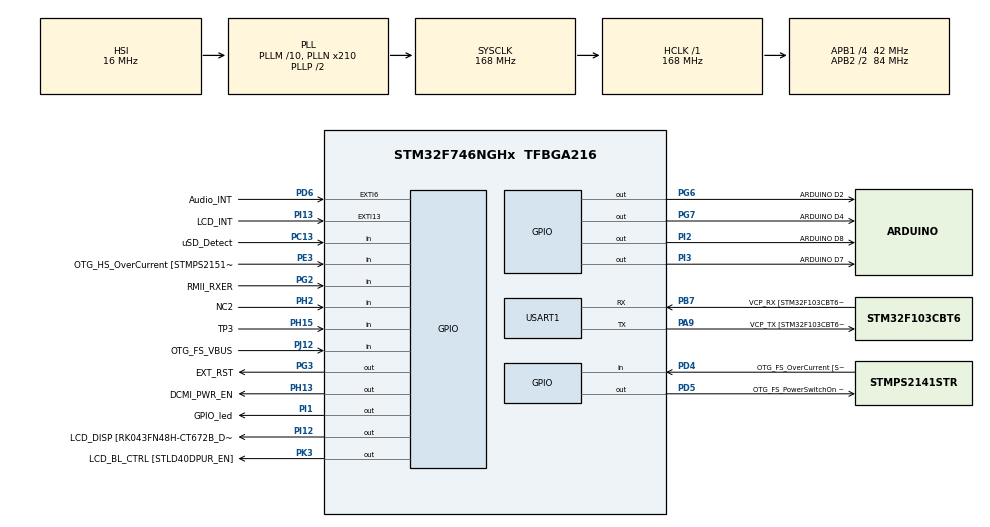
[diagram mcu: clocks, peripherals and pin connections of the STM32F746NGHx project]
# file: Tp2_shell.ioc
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CORTEX_M7.default_mode_Activation=1
FREERTOS.Tasks01=defaultTask,0,256,StartDefaultTask,Default,NULL,Dynamic,NULL,NULL
FREERTOS.configCHECK_FOR_STACK_OVERFLOW=2
FREERTOS.configGENERATE_RUN_TIME_STATS=1
FREERTOS.configTOTAL_HEAP_SIZE=32768
FREERTOS.configUSE_STATS_FORMATTING_FUNCTIONS=1
FREERTOS.configUSE_TRACE_FACILITY=1
Mcu.Family=STM32F7
Mcu.Name=STM32F746NGHx
Mcu.Package=TFBGA216
NVIC.PriorityGroup=NVIC_PRIORITYGROUP_4
NVIC.USART1_IRQn=true\:5\:0\:false\:false\:true\:true\:true\:true\:true
PA0/WKUP.GPIO_Label=ARDUINO A0
PA0/WKUP.GPIO_Mode=GPIO_MODE_ANALOG
PA0/WKUP.GPIO_PuPd=GPIO_NOPULL
PA0/WKUP.Signal=ADCx_IN0
PA1.GPIO_Label=RMII_REF_CLK [LAN8742A-CZ-TR_REFCLK0]
PA1.Signal=ETH_REF_CLK
PA10.GPIO_Label=OTG_FS_ID
PA10.Signal=USB_OTG_FS_ID
PA11.GPIO_Label=OTG_FS_N
PA11.Signal=USB_OTG_FS_DM
PA12.GPIO_Label=OTG_FS_P
PA12.Signal=USB_OTG_FS_DP
PA13.GPIO_Label=SWDIO
PA13.Signal=SYS_JTMS-SWDIO
PA14.GPIO_Label=SWCLK
PA14.Signal=SYS_JTCK-SWCLK
PA15.GPIO_Label=ARDUINO PWM/D9
PA15.GPIO_ModeDefaultPP=GPIO_MODE_AF_PP
PA15.GPIO_PuPd=GPIO_NOPULL
PA15.GPIO_Speed=GPIO_SPEED_FREQ_LOW
PA15.Signal=S_TIM2_CH1_ETR
PA2.GPIO_Label=RMII_MDIO [LAN8742A-CZ-TR_MDIO]
PA2.Signal=ETH_MDIO
PA3.GPIO_Label=ULPI_D0 [USB3320C-EZK_D0]
PA3.Signal=USB_OTG_HS_ULPI_D0
PA4.GPIO_Label=DCMI_HSYNC
PA4.Signal=DCMI_HSYNC
PA5.GPIO_Label=ULPI_CLK [USB3320C-EZK_CLKOUT]
PA5.Signal=USB_OTG_HS_ULPI_CK
PA6.Signal=DCMI_PIXCLK
PA7.GPIO_Label=RMII_CRS_DV [LAN8742A-CZ-TR_CRS_DV]
PA7.Signal=ETH_CRS_DV
PA8.GPIO_Label=ARDUINO PWM/D10
PA8.GPIO_ModeDefaultPP=GPIO_MODE_AF_PP
PA8.GPIO_PuPd=GPIO_NOPULL
PA8.GPIO_Speed=GPIO_SPEED_FREQ_LOW
PA8.Signal=S_TIM1_CH1
PA9.GPIO_Label=VCP_TX [STM32F103CBT6_PA3]
PA9.GPIO_Mode=GPIO_MODE_AF_PP
PA9.GPIO_PuPd=GPIO_NOPULL
PA9.GPIO_Speed=GPIO_SPEED_FREQ_LOW
PA9.Mode=Asynchronous
PA9.Signal=USART1_TX
PB0.GPIO_Label=ULPI_D1 [USB3320C-EZK_D1]
PB0.Signal=USB_OTG_HS_ULPI_D1
PB1.GPIO_Label=ULPI_D2 [USB3320C-EZK_D2]
PB1.Signal=USB_OTG_HS_ULPI_D2
PB10.GPIO_Label=ULPI_D3 [USB3320C-EZK_D3]
PB10.Signal=USB_OTG_HS_ULPI_D3
PB11.GPIO_Label=ULPI_D4 [USB3320C-EZK_D4]
PB11.Signal=USB_OTG_HS_ULPI_D4
PB12.GPIO_Label=ULPI_D5 [USB3320C-EZK_D5]
PB12.Signal=USB_OTG_HS_ULPI_D5
PB13.GPIO_Label=ULPI_D6 [USB3320C-EZK_D6]
PB13.Signal=USB_OTG_HS_ULPI_D6
PB14.GPIO_Label=ARDUINO MISO/D12
PB14.GPIO_Mode=GPIO_MODE_AF_PP
PB14.GPIO_PuPd=GPIO_NOPULL
PB14.GPIO_Speed=GPIO_SPEED_FREQ_LOW
PB14.Signal=SPI2_MISO
PB15.GPIO_Label=ARDUINO MOSI/PWM/D11
PB15.GPIO_Mode=GPIO_MODE_AF_PP
PB15.GPIO_PuPd=GPIO_NOPULL
PB15.GPIO_Speed=GPIO_SPEED_FREQ_LOW
PB15.Signal=SPI2_MOSI
PB2.Signal=QUADSPI_CLK
PB3.GPIO_Label=SWO
PB3.Signal=SYS_JTDO-SWO
PB4.GPIO_Label=ARDUINO PWM/D3
PB4.GPIO_ModeDefaultPP=GPIO_MODE_AF_PP
PB4.GPIO_PuPd=GPIO_NOPULL
PB4.GPIO_Speed=GPIO_SPEED_FREQ_LOW
PB4.Signal=S_TIM3_CH1
PB5.GPIO_Label=ULPI_D7 [USB3320C-EZK_D7]
PB5.Signal=USB_OTG_HS_ULPI_D7
PB6.GPIO_Label=QSPI_NCS [N25Q128A13EF840E_S]
PB6.Signal=QUADSPI_BK1_NCS
PB7.GPIO_Label=VCP_RX [STM32F103CBT6_PA2]
PB7.GPIO_Mode=GPIO_MODE_AF_PP
PB7.GPIO_PuPd=GPIO_NOPULL
PB7.GPIO_Speed=GPIO_SPEED_FREQ_LOW
PB7.Mode=Asynchronous
PB7.Signal=USART1_RX
PB8.GPIO_Label=ARDUINO SCL/D15
PB8.GPIO_Mode=GPIO_MODE_AF_OD
PB8.GPIO_PuPd=GPIO_NOPULL
PB8.GPIO_Speed=GPIO_SPEED_FREQ_LOW
PB8.Signal=I2C1_SCL
PB9.GPIO_Label=ARDUINO SDA/D14
PB9.GPIO_Mode=GPIO_MODE_AF_OD
PB9.GPIO_PuPd=GPIO_NOPULL
PB9.GPIO_Speed=GPIO_SPEED_FREQ_LOW
PB9.Signal=I2C1_SDA
PC0.GPIO_Label=ULPI_STP [USB3320C-EZK_STP]
PC0.Signal=USB_OTG_HS_ULPI_STP
PC1.GPIO_Label=RMII_MDC [LAN8742A-CZ-TR_MDC]
PC1.Signal=ETH_MDC
PC10.GPIO_Label=SDMMC_D2
PC10.Signal=SDMMC1_D2
PC11.GPIO_Label=SDMMC_D3
PC11.Signal=SDMMC1_D3
PC12.GPIO_Label=SDMMC_CK
PC12.Signal=SDMMC1_CK
PC13.GPIO_Label=uSD_Detect
PC13.Signal=GPIO_Input
PC14/OSC32_IN.GPIO_Label=RCC_OSC32_IN
PC14/OSC32_IN.Signal=RCC_OSC32_IN
PC15/OSC32_OUT.GPIO_Label=RCC_OSC32_OUT
PC15/OSC32_OUT.Signal=RCC_OSC32_OUT
PC2.GPIO_Label=ULPI_DIR [USB3320C-EZK_DIR]
PC2.Signal=USB_OTG_HS_ULPI_DIR
PC3.GPIO_Label=FMC_SDCKE0 [MT48LC4M32B2B5-6A_CKE]
PC3.Signal=FMC_SDCKE0
PC4.GPIO_Label=RMII_RXD0 [LAN8742A-CZ-TR_RXD0]
PC4.Signal=ETH_RXD0
PC5.GPIO_Label=RMII_RXD1 [LAN8742A-CZ-TR_RXD1]
PC5.Signal=ETH_RXD1
PC6.GPIO_Label=ARDUINO TX/D1
PC6.Signal=USART6_TX
PC7.GPIO_Label=ARDUINO RX/D0
PC7.Signal=USART6_RX
PC8.Signal=SDMMC1_D0
PC9.Signal=SDMMC1_D1
PD0.GPIO_Label=FMC_D2 [MT48LC4M32B2B5-6A_DQ2]
PD0.Signal=FMC_D2_DA2
PD1.GPIO_Label=FMC_D3 [MT48LC4M32B2B5-6A_DQ3]
PD1.Signal=FMC_D3_DA3
PD10.GPIO_Label=FMC_D15 [MT48LC4M32B2B5-6A_DQ15]
PD10.Signal=FMC_D15_DA15
PD11.GPIO_Label=QSPI_D0 [N25Q128A13EF840E_DQ0]
PD11.Signal=QUADSPI_BK1_IO0
PD12.GPIO_Label=QSPI_D1 [N25Q128A13EF840E_DQ1]
PD12.Signal=QUADSPI_BK1_IO1
PD13.GPIO_Label=QSPI_D3 [N25Q128A13EF840E_DQ3]
PD13.Signal=QUADSPI_BK1_IO3
PD14.GPIO_Label=FMC_D0 [MT48LC4M32B2B5-6A_DQ0]
PD14.Signal=FMC_D0_DA0
PD15.GPIO_Label=FMC_D1 [MT48LC4M32B2B5-6A_DQ1]
PD15.Signal=FMC_D1_DA1
PD2.GPIO_Label=SDMMC_D0
PD2.Signal=SDMMC1_CMD
PD3.GPIO_Label=DCMI_D5
PD3.Signal=DCMI_D5
PD4.GPIO_Label=OTG_FS_OverCurrent [STMPS2141STR_Fault]
PD4.Signal=GPIO_Input
PD5.GPIO_Label=OTG_FS_PowerSwitchOn [STMPS2141STR_EN]
PD5.PinState=GPIO_PIN_SET
PD5.Signal=GPIO_Output
PD6.GPIO_Label=Audio_INT
PD6.GPIO_ModeDefaultEXTI=GPIO_MODE_EVT_RISING
PD6.Signal=GPXTI6
PD7.GPIO_Label=SPDIF_RX0 [74LVC1G04SE_4]
PD7.Signal=SPDIFRX_IN0
PD8.GPIO_Label=FMC_D13 [MT48LC4M32B2B5-6A_DQ13]
PD8.Signal=FMC_D13_DA13
PD9.GPIO_Label=FMC_D14 [MT48LC4M32B2B5-6A_DQ14]
PD9.Signal=FMC_D14_DA14
PE0.GPIO_Label=FMC_NBL0 [MT48LC4M32B2B5-6A_DQM0]
PE0.Signal=FMC_NBL0
PE1.GPIO_Label=FMC_NBL1 [MT48LC4M32B2B5-6A_DQM1]
PE1.Signal=FMC_NBL1
PE10.GPIO_Label=FMC_D7 [MT48LC4M32B2B5-6A_DQ7]
PE10.Signal=FMC_D7_DA7
PE11.GPIO_Label=FMC_D8 [MT48LC4M32B2B5-6A_DQ8]
PE11.Signal=FMC_D8_DA8
PE12.GPIO_Label=FMC_D9 [MT48LC4M32B2B5-6A_DQ9]
PE12.Signal=FMC_D9_DA9
PE13.GPIO_Label=FMC_D10 [MT48LC4M32B2B5-6A_DQ10]
PE13.Signal=FMC_D10_DA10
PE14.GPIO_Label=FMC_D11 [MT48LC4M32B2B5-6A_DQ11]
PE14.Signal=FMC_D11_DA11
PE15.GPIO_Label=FMC_D12 [MT48LC4M32B2B5-6A_DQ12]
PE15.Signal=FMC_D12_DA12
PE2.GPIO_Label=QSPI_D2 [N25Q128A13EF840E_DQ2]
PE2.Signal=QUADSPI_BK1_IO2
PE3.GPIO_Label=OTG_HS_OverCurrent [STMPS2151STR_FAULT]
PE3.Signal=GPIO_Input
PE4.GPIO_Label=LCD_B0 [RK043FN48H-CT672B_B0]
PE4.Signal=LTDC_B0
PE5.GPIO_Label=DCMI_D6
PE5.Signal=DCMI_D6
PE6.GPIO_Label=DCMI_D7
PE6.Signal=DCMI_D7
PE7.GPIO_Label=FMC_D4 [MT48LC4M32B2B5-6A_DQ4]
PE7.Signal=FMC_D4_DA4
PE8.GPIO_Label=FMC_D5 [MT48LC4M32B2B5-6A_DQ5]
PE8.Signal=FMC_D5_DA5
PE9.GPIO_Label=FMC_D6 [MT48LC4M32B2B5-6A_DQ6]
PE9.Signal=FMC_D6_DA6
PF0.GPIO_Label=FMC_A0 [MT48LC4M32B2B5-6A_A0]
PF0.Signal=FMC_A0
PF1.GPIO_Label=FMC_A1 [MT48LC4M32B2B5-6A_A1]
PF1.Signal=FMC_A1
PF10.GPIO_Label=ARDUINO A1
PF10.GPIO_Mode=GPIO_MODE_ANALOG
PF10.GPIO_PuPd=GPIO_NOPULL
PF10.Signal=ADC3_IN8
PF11.GPIO_Label=FMC_SDNRAS [MT48LC4M32B2B5-6A_RAS]
PF11.Signal=FMC_SDNRAS
PF12.GPIO_Label=FMC_A6 [MT48LC4M32B2B5-6A_A6]
PF12.Signal=FMC_A6
PF13.GPIO_Label=FMC_A7 [MT48LC4M32B2B5-6A_A7]
PF13.Signal=FMC_A7
PF14.GPIO_Label=FMC_A8 [MT48LC4M32B2B5-6A_A8]
PF14.Signal=FMC_A8
PF15.GPIO_Label=FMC_A9 [MT48LC4M32B2B5-6A_A9]
PF15.Signal=FMC_A9
PF2.GPIO_Label=FMC_A2 [MT48LC4M32B2B5-6A_A2]
PF2.Signal=FMC_A2
PF3.GPIO_Label=FMC_A3 [MT48LC4M32B2B5-6A_A3]
PF3.Signal=FMC_A3
PF4.GPIO_Label=FMC_A4 [MT48LC4M32B2B5-6A_A4]
PF4.Signal=FMC_A4
PF5.GPIO_Label=FMC_A5 [MT48LC4M32B2B5-6A_A5]
PF5.Signal=FMC_A5
PF6.GPIO_Label=ARDUINO A5
PF6.GPIO_Mode=GPIO_MODE_ANALOG
PF6.GPIO_PuPd=GPIO_NOPULL
PF6.Signal=ADC3_IN4
PF7.GPIO_Label=ARDUINO A4
PF7.GPIO_Mode=GPIO_MODE_ANALOG
PF7.GPIO_PuPd=GPIO_NOPULL
PF7.Signal=ADC3_IN5
PF8.GPIO_Label=ARDUINO A3
PF8.GPIO_Mode=GPIO_MODE_ANALOG
PF8.GPIO_PuPd=GPIO_NOPULL
PF8.Signal=ADC3_IN6
PF9.GPIO_Label=ARDUINO A2
PF9.GPIO_Mode=GPIO_MODE_ANALOG
PF9.GPIO_PuPd=GPIO_NOPULL
PF9.Signal=ADC3_IN7
PG0.GPIO_Label=FMC_A10 [MT48LC4M32B2B5-6A_A10]
PG0.Signal=FMC_A10
PG1.GPIO_Label=FMC_A11 [MT48LC4M32B2B5-6A_A11]
PG1.Signal=FMC_A11
PG10.GPIO_Label=SAI2_SDB [WM8994ECS/R_ADCDAT1]
PG10.Signal=SAI2_SD_B
PG11.GPIO_Label=RMII_TX_EN [LAN8742A-CZ-TR_TXEN]
PG11.Signal=ETH_TX_EN
PG12.GPIO_Label=LCD_B4 [RK043FN48H-CT672B_B4]
PG12.Signal=LTDC_B4
PG13.GPIO_Label=RMII_TXD0 [LAN8742A-CZ-TR_TXD0]
PG13.Signal=ETH_TXD0
PG14.GPIO_Label=RMII_TXD1 [LAN8742A-CZ-TR_TXD1]
PG14.Signal=ETH_TXD1
PG15.GPIO_Label=FMC_SDNCAS [MT48LC4M32B2B5-6A_CAS]
PG15.Signal=FMC_SDNCAS
PG2.GPIO_Label=RMII_RXER
PG2.Signal=GPIO_Input
PG3.GPIO_Label=EXT_RST
PG3.Signal=GPIO_Output
PG4.GPIO_Label=FMC_BA0 [MT48LC4M32B2B5-6A_BA0]
PG4.Signal=FMC_A14_BA0
PG5.GPIO_Label=FMC_BA1 [MT48LC4M32B2B5-6A_BA1]
PG5.Signal=FMC_A15_BA1
PG6.GPIO_Label=ARDUINO D2
PG6.Signal=GPIO_Output
PG7.GPIO_Label=ARDUINO D4
PG7.Signal=GPIO_Output
PG8.GPIO_Label=FMC_SDCLK [MT48LC4M32B2B5-6A_CLK]
PG8.Signal=FMC_SDCLK
PG9.GPIO_Label=DCMI_VSYNC
PG9.Signal=DCMI_VSYNC
PH0/OSC_IN.GPIO_Label=OSC_25M [NZ2520SB-25.00M_OUT]
PH0/OSC_IN.Signal=RCC_OSC_IN
PH1/OSC_OUT.Signal=RCC_OSC_OUT
PH10.GPIO_Label=DCMI_D1
PH10.Signal=DCMI_D1
PH11.GPIO_Label=DCMI_D2
PH11.Signal=DCMI_D2
PH12.GPIO_Label=DCMI_D3
PH12.Signal=DCMI_D3
PH13.GPIO_Label=DCMI_PWR_EN
PH13.Signal=GPIO_Output
PH14.GPIO_Label=DCMI_D4
PH14.Signal=DCMI_D4
PH15.GPIO_Label=TP3
PH15.Signal=GPIO_Input
PH2.GPIO_Label=NC2
PH2.Signal=GPIO_Input
PH3.GPIO_Label=FMC_SDNE0 [MT48LC4M32B2B5-6A_CS]
PH3.Signal=FMC_SDNE0
PH4.GPIO_Label=ULPI_NXT [USB3320C-EZK_NXT]
PH4.Signal=USB_OTG_HS_ULPI_NXT
PH5.GPIO_Label=FMC_SDNME [MT48LC4M32B2B5-6A_WE]
PH5.Signal=FMC_SDNWE
PH6.GPIO_Label=ARDUINO PWM/D6
PH6.Signal=S_TIM12_CH1
PH7.GPIO_Label=LCD_SCL [RK043FN48H-CT672B_SCL]
PH7.Signal=I2C3_SCL
PH8.GPIO_Label=LCD_SDA [RK043FN48H-CT672B_SDA]
PH8.Signal=I2C3_SDA
PH9.GPIO_Label=DCMI_D0
PH9.Signal=DCMI_D0
PI0.GPIO_Label=ARDUINO PWM/CS/D5
PI0.GPIO_ModeDefaultPP=GPIO_MODE_AF_PP
PI0.GPIO_PuPd=GPIO_NOPULL
PI0.GPIO_Speed=GPIO_SPEED_FREQ_LOW
PI0.Signal=S_TIM5_CH4
PI1.GPIO_Label=GPIO_led
PI1.Signal=GPIO_Output
PI10.GPIO_Label=LCD_HSYNC [RK043FN48H-CT672B_HSYNC]
PI10.Signal=LTDC_HSYNC
PI12.GPIO_Label=LCD_DISP [RK043FN48H-CT672B_DISP] 
PI12.Signal=GPIO_Output
PI13.GPIO_Label=LCD_INT
PI13.GPIO_ModeDefaultEXTI=GPIO_MODE_EVT_RISING
PI13.Signal=GPXTI13
PI14.GPIO_Label=LCD_CLK [RK043FN48H-CT672B_CLK]
PI14.Signal=LTDC_CLK
PI15.GPIO_Label=LCD_R0 [RK043FN48H-CT672B_R0]
PI15.Signal=LTDC_R0
PI2.GPIO_Label=ARDUINO D8
PI2.Signal=GPIO_Output
PI3.GPIO_Label=ARDUINO D7
PI3.Signal=GPIO_Output
PI4.GPIO_Label=SAI2_MCLKA [WM8994ECS/R_MCLK1]
PI4.Signal=SAI2_MCLK_A
PI5.GPIO_Label=SAI2_SCKA [WM8994ECS/R_BCLK1]
PI5.Signal=SAI2_SCK_A
PI6.GPIO_Label=SAI2_SDA [WM8994ECS/R_DACDAT1]
PI6.Signal=SAI2_SD_A
PI7.GPIO_Label=SAI2_FSA [WM8994ECS/R_LRCLK1]
PI7.Signal=SAI2_FS_A
PI8.GPIO_Label=NC1 [TP2]
PI8.Signal=RTC_TS
PI9.GPIO_Label=LCD_VSYNC [RK043FN48H-CT672B_VSYNC]
PI9.Signal=LTDC_VSYNC
PJ0.GPIO_Label=LCD_R1 [RK043FN48H-CT672B_R1]
PJ0.Signal=LTDC_R1
PJ1.GPIO_Label=LCD_R2 [RK043FN48H-CT672B_R2]
PJ1.Signal=LTDC_R2
PJ10.GPIO_Label=LCD_G3 [RK043FN48H-CT672B_G3]
PJ10.Signal=LTDC_G3
PJ11.GPIO_Label=LCD_G4 [RK043FN48H-CT672B_G4]
PJ11.Signal=LTDC_G4
PJ12.GPIO_Label=OTG_FS_VBUS
PJ12.Signal=GPIO_Input
PJ13.GPIO_Label=LCD_B1 [RK043FN48H-CT672B_B1]
PJ13.Signal=LTDC_B1
PJ14.GPIO_Label=LCD_B2 [RK043FN48H-CT672B_B2]
PJ14.Signal=LTDC_B2
PJ15.GPIO_Label=LCD_B3 [RK043FN48H-CT672B_B3]
PJ15.Signal=LTDC_B3
PJ2.GPIO_Label=LCD_R3 [RK043FN48H-CT672B_R3]
PJ2.Signal=LTDC_R3
PJ3.GPIO_Label=LCD_R4 [RK043FN48H-CT672B_R4]
PJ3.Signal=LTDC_R4
PJ4.GPIO_Label=LCD_R5 [RK043FN48H-CT672B_R5]
PJ4.Signal=LTDC_R5
PJ5.GPIO_Label=LCD_R6 [RK043FN48H-CT672B_R6]
PJ5.Signal=LTDC_R6
PJ6.GPIO_Label=LCD_R7 [RK043FN48H-CT672B_R7]
PJ6.Signal=LTDC_R7
PJ7.GPIO_Label=LCD_G0 [RK043FN48H-CT672B_G0]
PJ7.Signal=LTDC_G0
PJ8.GPIO_Label=LCD_G1 [RK043FN48H-CT672B_G1]
PJ8.Signal=LTDC_G1
PJ9.GPIO_Label=LCD_G2 [RK043FN48H-CT672B_G2]
PJ9.Signal=LTDC_G2
PK0.GPIO_Label=LCD_G5 [RK043FN48H-CT672B_G5]
PK0.Signal=LTDC_G5
PK1.GPIO_Label=LCD_G6 [RK043FN48H-CT672B_G6]
PK1.Signal=LTDC_G6
PK2.GPIO_Label=LCD_G7 [RK043FN48H-CT672B_G7]
PK2.Signal=LTDC_G7
PK3.GPIO_Label=LCD_BL_CTRL [STLD40DPUR_EN]
PK3.Signal=GPIO_Output
PK4.GPIO_Label=LCD_B5 [RK043FN48H-CT672B_B5]
PK4.Signal=LTDC_B5
PK5.GPIO_Label=LCD_B6 [RK043FN48H-CT672B_B6]
PK5.Signal=LTDC_B6
PK6.GPIO_Label=LCD_B7 [RK043FN48H-CT672B_B7]
PK6.Signal=LTDC_B7
PK7.GPIO_Label=LCD_DE [RK043FN48H-CT672B_DE]
PK7.Signal=LTDC_DE
ProjectManager.HeapSize=0x200
ProjectManager.StackSize=0x400
ProjectManager.TargetToolchain=CMake
RCC.AHBFreq_Value=168000000
RCC.APB1CLKDivider=RCC_HCLK_DIV4
RCC.APB1Freq_Value=42000000
RCC.APB1TimFreq_Value=84000000
RCC.APB2CLKDivider=RCC_HCLK_DIV2
RCC.APB2Freq_Value=84000000
RCC.APB2TimFreq_Value=168000000
RCC.CortexFreq_Value=168000000
RCC.HCLKFreq_Value=168000000
RCC.HSE_VALUE=25000000
RCC.HSI_VALUE=16000000
RCC.LSE_VALUE=32768
RCC.PLLM=10
RCC.PLLN=210
RCC.PLLSourceVirtual=RCC_PLLSOURCE_HSI
RCC.SYSCLKFreq_VALUE=168000000
RCC.SYSCLKSource=RCC_SYSCLKSOURCE_PLLCLK
RCC.USBFreq_Value=168000000
RCC.VCOOutputFreq_Value=336000000
SH.ADCx_IN0.0=ADC3_IN0
SH.FMC_A0.0=FMC_A0
SH.FMC_A1.0=FMC_A1
SH.FMC_A10.0=FMC_A10
SH.FMC_A11.0=FMC_A11
SH.FMC_A14_BA0.0=FMC_BA0
SH.FMC_A15_BA1.0=FMC_BA1
SH.FMC_A2.0=FMC_A2
SH.FMC_A3.0=FMC_A3
SH.FMC_A4.0=FMC_A4
SH.FMC_A5.0=FMC_A5
SH.FMC_A6.0=FMC_A6
SH.FMC_A7.0=FMC_A7
SH.FMC_A8.0=FMC_A8
SH.FMC_A9.0=FMC_A9
SH.FMC_D0_DA0.0=FMC_D0
SH.FMC_D10_DA10.0=FMC_D10
SH.FMC_D11_DA11.0=FMC_D11
SH.FMC_D12_DA12.0=FMC_D12
SH.FMC_D13_DA13.0=FMC_D13
SH.FMC_D14_DA14.0=FMC_D14
SH.FMC_D15_DA15.0=FMC_D15
SH.FMC_D1_DA1.0=FMC_D1
SH.FMC_D2_DA2.0=FMC_D2
SH.FMC_D3_DA3.0=FMC_D3
SH.FMC_D4_DA4.0=FMC_D4
SH.FMC_D5_DA5.0=FMC_D5
SH.FMC_D6_DA6.0=FMC_D6
SH.FMC_D7_DA7.0=FMC_D7
SH.FMC_D8_DA8.0=FMC_D8
SH.FMC_D9_DA9.0=FMC_D9
SH.FMC_NBL0.0=FMC_NBL0
SH.FMC_NBL1.0=FMC_NBL1
SH.FMC_SDCLK.0=FMC_SDCLK
SH.FMC_SDNCAS.0=FMC_SDNCAS
SH.FMC_SDNRAS.0=FMC_SDNRAS
SH.FMC_SDNWE.0=FMC_SDNWE
SH.S_TIM12_CH1.0=TIM12_CH1
SH.S_TIM1_CH1.0=TIM1_CH1
SH.S_TIM2_CH1_ETR.0=TIM2_CH1
SH.S_TIM3_CH1.0=TIM3_CH1
SH.S_TIM5_CH4.0=TIM5_CH4
USART1.VirtualMode-Asynchronous=VM_ASYNC
VP_FREERTOS_VS_CMSIS_V1.Mode=CMSIS_V1
board=STM32F746G-DISCO

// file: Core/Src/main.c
/* USER CODE BEGIN Header */
/**
 ******************************************************************************
 * @file           : main.c
 * @brief          : Main program body
 ******************************************************************************
 * @attention
 *
 * Copyright (c) 2026 STMicroelectronics.
 * All rights reserved.
 *
 * This software is licensed under terms that can be found in the LICENSE file
 * in the root directory of this software component.
 * If no LICENSE file comes with this software, it is provided AS-IS.
 *
 ******************************************************************************
 */
/* USER CODE END Header */
#include "main.h"
#include "cmsis_os.h"
#include "usart.h"
#include "gpio.h"

/* USER CODE BEGIN Includes */
#include <stdio.h>
#include <stdlib.h>
#include "shell.h"
#include <string.h>
/* USER CODE END Includes */

/* USER CODE BEGIN PTD */
typedef struct
{
	char message[50];
	uint32_t count;
} SpamMessage_t;

/* USER CODE END PTD */

/* USER CODE BEGIN PV */
QueueHandle_t ledQueue = NULL;
QueueHandle_t spamQueue = NULL;
volatile uint32_t ledPeriod = 0;
SemaphoreHandle_t testSem = NULL;
/* USER CODE END PV */

void SystemClock_Config(void);
static void MPU_Config(void);
void MX_FREERTOS_Init(void);
/* USER CODE BEGIN PFP */

void task_led(void *unused);
void task_spam(void *unused);
int stats(int argc, char **argv);
//void task_dummy(void *unused);
void task_shell(void *unused);

int led(int argc, char **argv);
int spam(int argc, char **argv);
int fonction(int argc, char **argv);
int addition(int argc, char **argv);
/* USER CODE END PFP */

/* USER CODE BEGIN 0 */
int __io_putchar(int ch)
{
	HAL_UART_Transmit(&huart1, (uint8_t *)&ch, 1, HAL_MAX_DELAY);
	return ch;
}

void HAL_UART_RxCpltCallback(UART_HandleTypeDef *huart)
{
	if (huart->Instance == USART1)
	{
		shell_rx_callback();
	}
}

int fonction(int argc, char ** argv)
{
	printf("Je suis une fonction\r\n");

	printf("argc = %d\r\n", argc);

	for (int i = 0 ; i < argc ; i++)
	{
		printf("argv[%d] = %s\r\n", i, argv[i]);
	}

	return 0;
}

int addition(int argc, char ** argv)
{
	if (argc == 3)	// Deux arguments + le nom de la fonction
	{
		int a = atoi(argv[1]);	// atoi = ASCII to Integer
		int b = atoi(argv[2]);

		printf("%d + %d = %d\r\n", a, b, a+b);

		return 0;
	}
	else
	{
		printf("Usage : %s <arg1> <arg2>\r\n", argv[0]);
		return -1;
	}
}

void task_shell(void * unused)
{
	shell_init();
	shell_add('f', *fonction, "Une fonction");
	shell_add('a', *addition, "Addition");
	shell_add('l', led, "Commande LED");
	shell_add('s', spam, "Spam message");
	shell_add('t', stats, "FreeRTOS stats");
	shell_run();

	// shell_run = boucle infinie, on ne sort pas de la tache
	// Rappel : il est interdit de sortir d'une tache!
}
/*void task_stack_overflow(void *unused)
{
	char big_buffer[2000];

	for (;;)
	{
		for (int i = 0; i < sizeof(big_buffer); i++)
		{
			big_buffer[i] = i;
		}

		printf("Task stack test\r\n");
		vTaskDelay(pdMS_TO_TICKS(100));
	}
}*/
int stats(int argc, char **argv)
{
    static char buffer[1024];

    printf("\r\n=== Task list ===\r\n");

    vTaskList(buffer);
    printf("%s\r\n", buffer);

    printf("\r\n=== Runtime stats ===\r\n");

    vTaskGetRunTimeStats(buffer);
    printf("%s\r\n", buffer);

    return 0;
}
int led(int argc, char **argv)
{
	uint32_t period;

	if (argc != 2)
	{
		printf("Usage : %s <periode_ms>\r\n", argv[0]);
		return -1;
	}

	period = (uint32_t)atoi(argv[1]);

	if (xQueueOverwrite(ledQueue, &period) == pdPASS)
	{
		printf("Nouvelle periode LED = %lu ms\r\n", period);
		return 0;
	}

	printf("Erreur envoi ledQueue\r\n");
	return -1;
}

void task_led(void *unused)
{
	uint32_t newPeriod;

	for (;;)
	{
		if (xQueueReceive(ledQueue, &newPeriod, 0) == pdPASS)
		{
			ledPeriod = newPeriod;
		}

		if (ledPeriod == 0)
		{
			HAL_GPIO_WritePin(GPIOI, GPIO_led_Pin, GPIO_PIN_RESET);
			vTaskDelay(pdMS_TO_TICKS(20));
		}
		else
		{
			HAL_GPIO_TogglePin(GPIOI, GPIO_led_Pin
					);
			vTaskDelay(pdMS_TO_TICKS(ledPeriod));
		}
	}
}

int spam(int argc, char **argv)
{
	SpamMessage_t msg;

	if (argc != 3)
	{
		printf("Usage : %s <message> <nb>\r\n", argv[0]);
		return -1;
	}

	strncpy(msg.message, argv[1], sizeof(msg.message) - 1);
	msg.message[sizeof(msg.message) - 1] = '\0';

	// Convertir le nombre
	msg.count = (uint32_t)atoi(argv[2]);

	// Envoi dans la queue (bloquant pour éviter la perte)
	if (xQueueSend(spamQueue, &msg, portMAX_DELAY) == pdPASS)
	{
		printf("Spam envoye\r\n");
		return 0;
	}

	printf("Erreur envoi spamQueue\r\n");
	return -1;
}

void task_spam(void *unused)
{
	SpamMessage_t msg;

	for (;;)
	{
		if (xQueueReceive(spamQueue, &msg, portMAX_DELAY) == pdPASS)
		{
			for (uint32_t i = 0; i < msg.count; i++)
			{
				printf("%s\r\n", msg.message);
				printf("\r\n");
				vTaskDelay(pdMS_TO_TICKS(100));
			}
		}
	}
}
/*void task_dummy(void *unused)
{
    for (;;)
    {
        vTaskDelay(pdMS_TO_TICKS(1000));
    }
}*/

/* USER CODE END 0 */

int main(void)
{

  /* MPU Configuration--------------------------------------------------------*/
  MPU_Config();

  /* MCU Configuration--------------------------------------------------------*/

  /* Reset of all peripherals, Initializes the Flash interface and the Systick. */
  HAL_Init();

  /* Configure the system clock */
  SystemClock_Config();

  /* Initialize all configured peripherals */
  MX_GPIO_Init();
  MX_USART1_UART_Init();
  /* USER CODE BEGIN 2 */
  printf("\r\n==== TEST ====\r\n");

#define TASK_SHELL_STACK_DEPTH 2048
#define TASK_SHELL_PRIORITY 2

  ledQueue = xQueueCreate(1, sizeof(uint32_t));
  if (ledQueue == NULL)
  {
  	printf("Erreur creation ledQueue\r\n");
  	Error_Handler();
  }
  vQueueAddToRegistry(ledQueue, "ledQueue");

  spamQueue = xQueueCreate(3, sizeof(SpamMessage_t));
  if (spamQueue == NULL)
  {
  	printf("Erreur creation spamQueue\r\n");
  	Error_Handler();
  }

  vQueueAddToRegistry(spamQueue, "spamQueue");

  testSem = xSemaphoreCreateBinary();

  if (testSem == NULL)
  {
      printf("Erreur creation semaphore\r\n");
      Error_Handler();
  }
  vQueueAddToRegistry(testSem, "testSem");

	xTaskCreate (
			task_shell,
			"Shell",
			TASK_SHELL_STACK_DEPTH,
			NULL,
			TASK_SHELL_PRIORITY,
			NULL
	);
	xTaskCreate(
			task_led,
			"LED",
			256,
			NULL,
			1,
			NULL
	);

	xTaskCreate(
			task_spam,
			"Spam",
			256,
			NULL,
			1,
			NULL
	);
	/*	printf("Debut test heap\r\n");
//	HAL_Delay(1000);

	int failed_at = -1;

	for (int i = 0; i < 200; i++)
	{
	    BaseType_t ret = xTaskCreate(task_dummy, "DUMMY", 512, NULL, 1, NULL);

	    if (ret != pdPASS)
	    {
	        failed_at = i;
	        printf("Erreur a la creation de la tache %d\r\n", i);
//	        HAL_Delay(3000);
	        break;
	    }

	    else
	    {
	    	printf("Created task number %d\r\n", i);
	    }
	}

	printf("Fin test, failed_at = %d\r\n", failed_at);*/

	//BaseType_t ret;

	/*ret = xTaskCreate(
			task_stack_overflow,
			"StackTest",
			128,
			NULL,
			1,
			NULL
	);

	if (ret != pdPASS)
	{
		printf("Erreur creation StackTest\r\n");
		Error_Handler();
	}*/
//	HAL_Delay(3000);

	vTaskStartScheduler();
  /* USER CODE END 2 */

  /* Call init function for freertos objects (in cmsis_os2.c) */
  MX_FREERTOS_Init();

  /* Start scheduler */
  osKernelStart();

  /* We should never get here as control is now taken by the scheduler */

  /* Infinite loop */
	while (1)
	{

	}
}

void SystemClock_Config(void)
{
  RCC_OscInitTypeDef RCC_OscInitStruct = {0};
  RCC_ClkInitTypeDef RCC_ClkInitStruct = {0};

  /** Configure the main internal regulator output voltage
  */
  __HAL_RCC_PWR_CLK_ENABLE();
  __HAL_PWR_VOLTAGESCALING_CONFIG(PWR_REGULATOR_VOLTAGE_SCALE2);

  /** Initializes the RCC Oscillators according to the specified parameters
  * in the RCC_OscInitTypeDef structure.
  */
  RCC_OscInitStruct.OscillatorType = RCC_OSCILLATORTYPE_HSI;
  RCC_OscInitStruct.HSIState = RCC_HSI_ON;
  RCC_OscInitStruct.HSICalibrationValue = RCC_HSICALIBRATION_DEFAULT;
  RCC_OscInitStruct.PLL.PLLState = RCC_PLL_ON;
  RCC_OscInitStruct.PLL.PLLSource = RCC_PLLSOURCE_HSI;
  RCC_OscInitStruct.PLL.PLLM = 10;
  RCC_OscInitStruct.PLL.PLLN = 210;
  RCC_OscInitStruct.PLL.PLLP = RCC_PLLP_DIV2;
  RCC_OscInitStruct.PLL.PLLQ = 2;
  if (HAL_RCC_OscConfig(&RCC_OscInitStruct) != HAL_OK)
  {
    Error_Handler();
  }

  /** Initializes the CPU, AHB and APB buses clocks
  */
  RCC_ClkInitStruct.ClockType = RCC_CLOCKTYPE_HCLK|RCC_CLOCKTYPE_SYSCLK
                              |RCC_CLOCKTYPE_PCLK1|RCC_CLOCKTYPE_PCLK2;
  RCC_ClkInitStruct.SYSCLKSource = RCC_SYSCLKSOURCE_PLLCLK;
  RCC_ClkInitStruct.AHBCLKDivider = RCC_SYSCLK_DIV1;
  RCC_ClkInitStruct.APB1CLKDivider = RCC_HCLK_DIV4;
  RCC_ClkInitStruct.APB2CLKDivider = RCC_HCLK_DIV2;

  if (HAL_RCC_ClockConfig(&RCC_ClkInitStruct, FLASH_LATENCY_5) != HAL_OK)
  {
    Error_Handler();
  }
}

/* USER CODE BEGIN 4 */
void vApplicationStackOverflowHook(TaskHandle_t xTask, char *pcTaskName)
{
	printf("Stack overflow dans la tache : %s\r\n", pcTaskName);

	__disable_irq();

	while (1)
	{
	}
}
void configureTimerForRunTimeStats(void)
{
    /* On utilise ici le tick HAL comme base de temps */
}

unsigned long getRunTimeCounterValue(void)
{
    return HAL_GetTick();
}
/* USER CODE END 4 */

 /* MPU Configuration */

void MPU_Config(void)
{
  MPU_Region_InitTypeDef MPU_InitStruct = {0};

  /* Disables the MPU */
  HAL_MPU_Disable();

  /** Initializes and configures the Region and the memory to be protected
  */
  MPU_InitStruct.Enable = MPU_REGION_ENABLE;
  MPU_InitStruct.Number = MPU_REGION_NUMBER0;
  MPU_InitStruct.BaseAddress = 0x0;
  MPU_InitStruct.Size = MPU_REGION_SIZE_4GB;
  MPU_InitStruct.SubRegionDisable = 0x87;
  MPU_InitStruct.TypeExtField = MPU_TEX_LEVEL0;
  MPU_InitStruct.AccessPermission = MPU_REGION_NO_ACCESS;
  MPU_InitStruct.DisableExec = MPU_INSTRUCTION_ACCESS_DISABLE;
  MPU_InitStruct.IsShareable = MPU_ACCESS_SHAREABLE;
  MPU_InitStruct.IsCacheable = MPU_ACCESS_NOT_CACHEABLE;
  MPU_InitStruct.IsBufferable = MPU_ACCESS_NOT_BUFFERABLE;

  HAL_MPU_ConfigRegion(&MPU_InitStruct);
  /* Enables the MPU */
  HAL_MPU_Enable(MPU_PRIVILEGED_DEFAULT);

}

void Error_Handler(void)
{
	__disable_irq();
	while (1)
	{
	}
}
